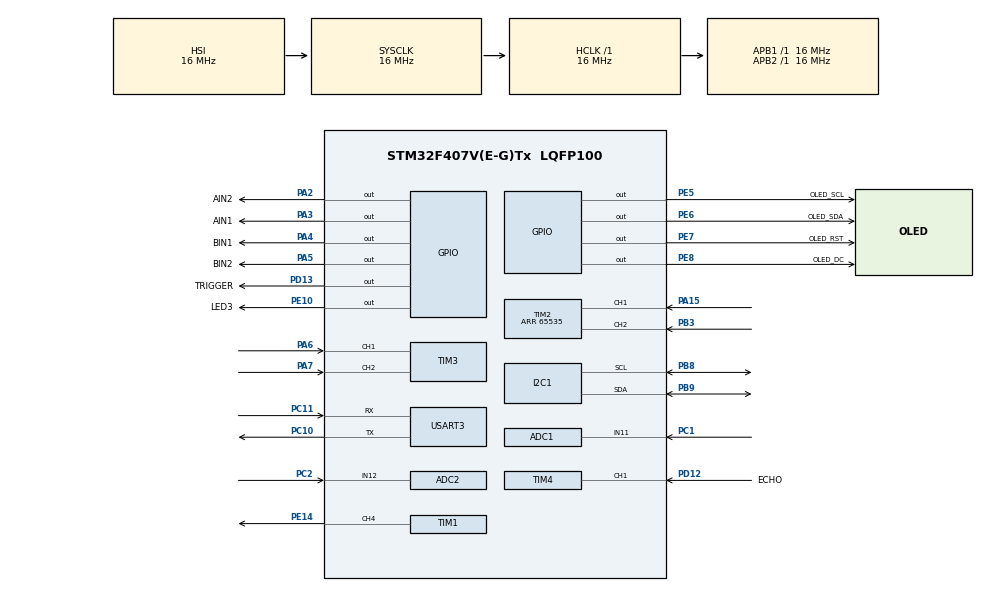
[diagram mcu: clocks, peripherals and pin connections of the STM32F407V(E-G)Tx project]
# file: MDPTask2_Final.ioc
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ADC1.Channel-0\#ChannelRegularConversion=ADC_CHANNEL_11
ADC1.NbrOfConversionFlag=1
ADC1.Rank-0\#ChannelRegularConversion=1
ADC1.SamplingTime-0\#ChannelRegularConversion=ADC_SAMPLETIME_3CYCLES
ADC1.master=1
ADC2.Channel-0\#ChannelRegularConversion=ADC_CHANNEL_12
ADC2.NbrOfConversionFlag=1
ADC2.Rank-0\#ChannelRegularConversion=1
ADC2.SamplingTime-0\#ChannelRegularConversion=ADC_SAMPLETIME_3CYCLES
FREERTOS.Tasks01=defaultTask,24,128,StartDefaultTask,Default,NULL,Dynamic,NULL,NULL;rightEncoderTas,8,128,rightEncoder,Default,NULL,Dynamic,NULL,NULL;leftEncoderTask,8,128,leftEncoder,Default,NULL,Dynamic,NULL,NULL;CommTask,8,128,StartCommsTask,Default,NULL,Dynamic,NULL,NULL;OLED,8,256,StartOLEDTask,Default,NULL,Dynamic,NULL,NULL;MotorTask,8,128,StartMotorTask,Default,NULL,Dynamic,NULL,NULL;GyroTask,8,128,StartGyroTask,Default,NULL,Dynamic,NULL,NULL;UltrasoundTask,8,128,StartUltrasoundTask,Default,NULL,Dynamic,NULL,NULL;IRTask,8,128,StartIRTask,Default,NULL,Dynamic,NULL,NULL
Mcu.Family=STM32F4
Mcu.Name=STM32F407V(E-G)Tx
Mcu.Package=LQFP100
NVIC.PriorityGroup=NVIC_PRIORITYGROUP_4
NVIC.RCC_IRQn=true\:5\:0\:false\:false\:true\:true\:true\:false\:true
NVIC.TIM4_IRQn=true\:5\:0\:false\:false\:true\:true\:true\:true\:true
NVIC.USART3_IRQn=true\:5\:0\:false\:false\:true\:true\:true\:true\:true
PA15.Signal=S_TIM2_CH1_ETR
PA2.GPIO_Label=AIN2
PA2.GPIO_Speed=GPIO_SPEED_FREQ_HIGH
PA2.Signal=GPIO_Output
PA3.GPIO_Label=AIN1
PA3.GPIO_Speed=GPIO_SPEED_FREQ_HIGH
PA3.Signal=GPIO_Output
PA4.GPIO_Label=BIN1
PA4.GPIO_Speed=GPIO_SPEED_FREQ_HIGH
PA4.PinState=GPIO_PIN_RESET
PA4.Signal=GPIO_Output
PA5.GPIO_Label=BIN2
PA5.GPIO_Speed=GPIO_SPEED_FREQ_HIGH
PA5.Signal=GPIO_Output
PA6.Signal=S_TIM3_CH1
PA7.Signal=S_TIM3_CH2
PB3.Signal=S_TIM2_CH2
PB8.Mode=I2C
PB8.Signal=I2C1_SCL
PB9.Mode=I2C
PB9.Signal=I2C1_SDA
PC1.Signal=ADCx_IN11
PC10.Mode=Asynchronous
PC10.Signal=USART3_TX
PC11.Mode=Asynchronous
PC11.Signal=USART3_RX
PC2.Signal=ADCx_IN12
PC6.GPIO_Label=PWMA
PC6.Signal=S_TIM8_CH1
PC7.GPIO_Label=PWMB
PC7.Signal=S_TIM8_CH2
PD12.GPIO_Label=ECHO
PD12.Signal=S_TIM4_CH1
PD13.GPIO_Label=TRIGGER
PD13.Signal=GPIO_Output
PE10.GPIO_Label=LED3
PE10.Signal=GPIO_Output
PE14.Signal=S_TIM1_CH4
PE5.GPIO_Label=OLED_SCL
PE5.Signal=GPIO_Output
PE6.GPIO_Label=OLED_SDA
PE6.Signal=GPIO_Output
PE7.GPIO_Label=OLED_RST
PE7.Signal=GPIO_Output
PE8.GPIO_Label=OLED_DC
PE8.Signal=GPIO_Output
PH0-OSC_IN.Mode=HSE-External-Oscillator
PH0-OSC_IN.Signal=RCC_OSC_IN
PH1-OSC_OUT.Mode=HSE-External-Oscillator
PH1-OSC_OUT.Signal=RCC_OSC_OUT
ProjectManager.HeapSize=0x200
ProjectManager.StackSize=0x400
ProjectManager.TargetToolchain=STM32CubeIDE
RCC.AHBFreq_Value=16000000
RCC.APB1Freq_Value=16000000
RCC.APB2Freq_Value=16000000
RCC.CortexFreq_Value=16000000
RCC.HSE_VALUE=25000000
RCC.HSI_VALUE=16000000
RCC.LSE_VALUE=32768
RCC.SYSCLKFreq_VALUE=16000000
RCC.VCOOutputFreq_Value=192000000
SH.ADCx_IN11.0=ADC1_IN11,IN11
SH.ADCx_IN12.0=ADC2_IN12,IN12
SH.S_TIM1_CH4.0=TIM1_CH4,PWM Generation4 CH4
SH.S_TIM2_CH1_ETR.0=TIM2_CH1,Encoder_Interface
SH.S_TIM2_CH2.0=TIM2_CH2,Encoder_Interface
SH.S_TIM3_CH1.0=TIM3_CH1,Encoder_Interface
SH.S_TIM3_CH2.0=TIM3_CH2,Encoder_Interface
SH.S_TIM4_CH1.0=TIM4_CH1,Input_Capture1_from_TI1
SH.S_TIM8_CH1.0=TIM8_CH1
SH.S_TIM8_CH2.0=TIM8_CH2
TIM1.AutoReloadPreload=TIM_AUTORELOAD_PRELOAD_ENABLE
TIM1.Channel-PWM\ Generation4\ CH4=TIM_CHANNEL_4
TIM1.Period=1000
TIM1.Prescaler=160
TIM2.EncoderMode=TIM_ENCODERMODE_TI12
TIM2.IC1Filter=10
TIM2.IC2Filter=10
TIM2.Period=65535
TIM3.EncoderMode=TIM_ENCODERMODE_TI12
TIM3.IC1Filter=10
TIM3.IC2Filter=10
TIM4.Channel-Input_Capture1_from_TI1=TIM_CHANNEL_1
TIM4.Prescaler=16-1
TIM8.Channel-PWM\ Generation1\ No\ Output=TIM_CHANNEL_1
TIM8.Channel-PWM\ Generation2\ No\ Output=TIM_CHANNEL_2
TIM8.Period=7199
USART3.VirtualMode=VM_ASYNC
VP_FREERTOS_VS_CMSIS_V2.Mode=CMSIS_V2
VP_TIM1_VS_ClockSourceINT.Mode=Internal
VP_TIM8_VS_ClockSourceINT.Mode=Internal
VP_TIM8_VS_no_output1.Mode=PWM Generation1 No Output
VP_TIM8_VS_no_output2.Mode=PWM Generation2 No Output
board=custom

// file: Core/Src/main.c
/* USER CODE BEGIN Header */
/**
  ******************************************************************************
  * @file           : main.c
  * @brief          : Main program body
  ******************************************************************************
  * @attention
  *
  * Copyright (c) 2025 STMicroelectronics.
  * All rights reserved.
  *
  * This software is licensed under terms that can be found in the LICENSE file
  * in the root directory of this software component.
  * If no LICENSE file comes with this software, it is provided AS-IS.
  *
  ******************************************************************************
  */
/* USER CODE END Header */
#include "main.h"
#include "cmsis_os.h"

/* USER CODE BEGIN Includes */
#include "oled.h"
#include "time.h"

/* USER CODE END Includes */

/* USER CODE BEGIN PD */

#define SERVOCENTER 146
#define SERVORIGHT 250
#define SERVOLEFT 84

/* USER CODE END PD */

ADC_HandleTypeDef hadc1;
ADC_HandleTypeDef hadc2;

I2C_HandleTypeDef hi2c1;

TIM_HandleTypeDef htim1;
TIM_HandleTypeDef htim2;
TIM_HandleTypeDef htim3;
TIM_HandleTypeDef htim4;
TIM_HandleTypeDef htim8;

UART_HandleTypeDef huart3;

/* Definitions for defaultTask */
osThreadId_t defaultTaskHandle;
const osThreadAttr_t defaultTask_attributes = {
  .name = "defaultTask",
  .stack_size = 128 * 4,
  .priority = (osPriority_t) osPriorityNormal,
};
/* Definitions for rightEncoderTas */
osThreadId_t rightEncoderTasHandle;
const osThreadAttr_t rightEncoderTas_attributes = {
  .name = "rightEncoderTas",
  .stack_size = 128 * 4,
  .priority = (osPriority_t) osPriorityLow,
};
/* Definitions for leftEncoderTask */
osThreadId_t leftEncoderTaskHandle;
const osThreadAttr_t leftEncoderTask_attributes = {
  .name = "leftEncoderTask",
  .stack_size = 128 * 4,
  .priority = (osPriority_t) osPriorityLow,
};
/* Definitions for CommTask */
osThreadId_t CommTaskHandle;
const osThreadAttr_t CommTask_attributes = {
  .name = "CommTask",
  .stack_size = 128 * 4,
  .priority = (osPriority_t) osPriorityLow,
};
/* Definitions for OLED */
osThreadId_t OLEDHandle;
const osThreadAttr_t OLED_attributes = {
  .name = "OLED",
  .stack_size = 256 * 4,
  .priority = (osPriority_t) osPriorityLow,
};
/* Definitions for MotorTask */
osThreadId_t MotorTaskHandle;
const osThreadAttr_t MotorTask_attributes = {
  .name = "MotorTask",
  .stack_size = 128 * 4,
  .priority = (osPriority_t) osPriorityLow,
};
/* Definitions for GyroTask */
osThreadId_t GyroTaskHandle;
const osThreadAttr_t GyroTask_attributes = {
  .name = "GyroTask",
  .stack_size = 128 * 4,
  .priority = (osPriority_t) osPriorityLow,
};
/* Definitions for UltrasoundTask */
osThreadId_t UltrasoundTaskHandle;
const osThreadAttr_t UltrasoundTask_attributes = {
  .name = "UltrasoundTask",
  .stack_size = 128 * 4,
  .priority = (osPriority_t) osPriorityLow,
};
/* Definitions for IRTask */
osThreadId_t IRTaskHandle;
const osThreadAttr_t IRTask_attributes = {
  .name = "IRTask",
  .stack_size = 128 * 4,
  .priority = (osPriority_t) osPriorityLow,
};

void SystemClock_Config(void);
static void MX_GPIO_Init(void);
static void MX_TIM8_Init(void);
static void MX_TIM2_Init(void);
static void MX_TIM1_Init(void);
static void MX_USART3_UART_Init(void);
static void MX_TIM3_Init(void);
static void MX_I2C1_Init(void);
static void MX_TIM4_Init(void);
static void MX_ADC1_Init(void);
static void MX_ADC2_Init(void);
void StartDefaultTask(void *argument);
void rightEncoder(void *argument);
void leftEncoder(void *argument);
void StartCommsTask(void *argument);
void StartOLEDTask(void *argument);
void StartMotorTask(void *argument);
void StartGyroTask(void *argument);
void StartUltrasoundTask(void *argument);
void StartIRTask(void *argument);

/* USER CODE BEGIN 0 */

//UART
int receivedInstruction = 0;
uint8_t aRxBuffer[5];
int flagDone = 0;
int amplitude=0;

// movement
uint16_t pwmVal_servo = SERVOCENTER;
uint16_t pwmVal_Right = 0;
uint16_t pwmVal_Left = 0;
int times_acceptable = 0;
int e_brake = 0;
int selfModifyPinsSemaphore = 0;
int uFlag = 0;
int irTaskuFlag = 0;
int gyroResetFlag = 0;

// encoder
int32_t rightEncoderVal = 0, leftEncoderVal = 0;
int32_t rightTarget = 0, leftTarget = 0;
double target_angle = 0;
int32_t O2distanceTravelled = 0;

// gyro
double total_angle = 0;
uint8_t gyroBuffer[20];
uint8_t ICMAddress = 0x68;

//ultrasonic
int u_CapturedTrig1;
int uintPart;
double echo_dist;
double echo_pulse;
int32_t trig1;
int32_t trig2;
int obstacle_detected = 0;

//IR Sensor
uint16_t RawLeftIRVal = 0;
uint16_t RawRightIRVal = 0;
uint16_t LeftIRfiltered = 0;
uint16_t RightIRfiltered = 0;
uint16_t IRDistance_Left = 0;
uint16_t IRDistance_Right = 0;
uint16_t *IRforTask2;

/* USER CODE END 0 */

int main(void)
{

  /* MCU Configuration--------------------------------------------------------*/

  /* Reset of all peripherals, Initializes the Flash interface and the Systick. */
  HAL_Init();

  /* Configure the system clock */
  SystemClock_Config();

  /* Initialize all configured peripherals */
  MX_GPIO_Init();
  MX_TIM8_Init();
  MX_TIM2_Init();
  MX_TIM1_Init();
  MX_USART3_UART_Init();
  MX_TIM3_Init();
  MX_I2C1_Init();
  MX_TIM4_Init();
  MX_ADC1_Init();
  MX_ADC2_Init();
  /* USER CODE BEGIN 2 */

  /*------------INIT LIBRARIES ----------------*/
 OLED_Init();
 void delay_us(uint16_t time_us);
 //motor_init(&htim8, &htim2, &htim2); 						//initialize motor PWM and encoders. ############################################

 // HAL_UART_Receive_IT(&huart3, (uint8_t *) aRxBuffer,5);			//HAL...(HUART3,aRxBuffer, (how many character to input before it receives)

 /*------------END INIT LIBRARIES ----------------*/
  /* USER CODE END 2 */

  /* Init scheduler */
  osKernelInitialize();

  /* Create the thread(s) */
  /* creation of defaultTask */
  defaultTaskHandle = osThreadNew(StartDefaultTask, NULL, &defaultTask_attributes);

  /* creation of rightEncoderTas */
  rightEncoderTasHandle = osThreadNew(rightEncoder, NULL, &rightEncoderTas_attributes);

  /* creation of leftEncoderTask */
  leftEncoderTaskHandle = osThreadNew(leftEncoder, NULL, &leftEncoderTask_attributes);

  /* creation of CommTask */
  CommTaskHandle = osThreadNew(StartCommsTask, NULL, &CommTask_attributes);

  /* creation of OLED */
  OLEDHandle = osThreadNew(StartOLEDTask, NULL, &OLED_attributes);

  /* creation of MotorTask */
  MotorTaskHandle = osThreadNew(StartMotorTask, NULL, &MotorTask_attributes);

  /* creation of GyroTask */
  GyroTaskHandle = osThreadNew(StartGyroTask, NULL, &GyroTask_attributes);

  /* creation of UltrasoundTask */
  UltrasoundTaskHandle = osThreadNew(StartUltrasoundTask, NULL, &UltrasoundTask_attributes);

  /* creation of IRTask */
  IRTaskHandle = osThreadNew(StartIRTask, NULL, &IRTask_attributes);

  /* Start scheduler */
  osKernelStart();

  /* We should never get here as control is now taken by the scheduler */

  /* Infinite loop */
  while(1)
  {

  }
}

void SystemClock_Config(void)
{
  RCC_OscInitTypeDef RCC_OscInitStruct = {0};
  RCC_ClkInitTypeDef RCC_ClkInitStruct = {0};

  /** Configure the main internal regulator output voltage
  */
  __HAL_RCC_PWR_CLK_ENABLE();
  __HAL_PWR_VOLTAGESCALING_CONFIG(PWR_REGULATOR_VOLTAGE_SCALE1);

  /** Initializes the RCC Oscillators according to the specified parameters
  * in the RCC_OscInitTypeDef structure.
  */
  RCC_OscInitStruct.OscillatorType = RCC_OSCILLATORTYPE_HSI;
  RCC_OscInitStruct.HSIState = RCC_HSI_ON;
  RCC_OscInitStruct.HSICalibrationValue = RCC_HSICALIBRATION_DEFAULT;
  RCC_OscInitStruct.PLL.PLLState = RCC_PLL_NONE;
  if (HAL_RCC_OscConfig(&RCC_OscInitStruct) != HAL_OK)
  {
    Error_Handler();
  }

  /** Initializes the CPU, AHB and APB buses clocks
  */
  RCC_ClkInitStruct.ClockType = RCC_CLOCKTYPE_HCLK|RCC_CLOCKTYPE_SYSCLK
                              |RCC_CLOCKTYPE_PCLK1|RCC_CLOCKTYPE_PCLK2;
  RCC_ClkInitStruct.SYSCLKSource = RCC_SYSCLKSOURCE_HSI;
  RCC_ClkInitStruct.AHBCLKDivider = RCC_SYSCLK_DIV1;
  RCC_ClkInitStruct.APB1CLKDivider = RCC_HCLK_DIV1;
  RCC_ClkInitStruct.APB2CLKDivider = RCC_HCLK_DIV1;

  if (HAL_RCC_ClockConfig(&RCC_ClkInitStruct, FLASH_LATENCY_0) != HAL_OK)
  {
    Error_Handler();
  }
}

static void MX_ADC1_Init(void)
{

  ADC_ChannelConfTypeDef sConfig = {0};

  /** Configure the global features of the ADC (Clock, Resolution, Data Alignment and number of conversion)
  */
  hadc1.Instance = ADC1;
  hadc1.Init.ClockPrescaler = ADC_CLOCK_SYNC_PCLK_DIV2;
  hadc1.Init.Resolution = ADC_RESOLUTION_12B;
  hadc1.Init.ScanConvMode = DISABLE;
  hadc1.Init.ContinuousConvMode = DISABLE;
  hadc1.Init.DiscontinuousConvMode = DISABLE;
  hadc1.Init.ExternalTrigConvEdge = ADC_EXTERNALTRIGCONVEDGE_NONE;
  hadc1.Init.ExternalTrigConv = ADC_SOFTWARE_START;
  hadc1.Init.DataAlign = ADC_DATAALIGN_RIGHT;
  hadc1.Init.NbrOfConversion = 1;
  hadc1.Init.DMAContinuousRequests = DISABLE;
  hadc1.Init.EOCSelection = ADC_EOC_SINGLE_CONV;
  if (HAL_ADC_Init(&hadc1) != HAL_OK)
  {
    Error_Handler();
  }

  /** Configure for the selected ADC regular channel its corresponding rank in the sequencer and its sample time.
  */
  sConfig.Channel = ADC_CHANNEL_11;
  sConfig.Rank = 1;
  sConfig.SamplingTime = ADC_SAMPLETIME_3CYCLES;
  if (HAL_ADC_ConfigChannel(&hadc1, &sConfig) != HAL_OK)
  {
    Error_Handler();
  }

}

static void MX_ADC2_Init(void)
{

  ADC_ChannelConfTypeDef sConfig = {0};

  /** Configure the global features of the ADC (Clock, Resolution, Data Alignment and number of conversion)
  */
  hadc2.Instance = ADC2;
  hadc2.Init.ClockPrescaler = ADC_CLOCK_SYNC_PCLK_DIV2;
  hadc2.Init.Resolution = ADC_RESOLUTION_12B;
  hadc2.Init.ScanConvMode = DISABLE;
  hadc2.Init.ContinuousConvMode = DISABLE;
  hadc2.Init.DiscontinuousConvMode = DISABLE;
  hadc2.Init.ExternalTrigConvEdge = ADC_EXTERNALTRIGCONVEDGE_NONE;
  hadc2.Init.ExternalTrigConv = ADC_SOFTWARE_START;
  hadc2.Init.DataAlign = ADC_DATAALIGN_RIGHT;
  hadc2.Init.NbrOfConversion = 1;
  hadc2.Init.DMAContinuousRequests = DISABLE;
  hadc2.Init.EOCSelection = ADC_EOC_SINGLE_CONV;
  if (HAL_ADC_Init(&hadc2) != HAL_OK)
  {
    Error_Handler();
  }

  /** Configure for the selected ADC regular channel its corresponding rank in the sequencer and its sample time.
  */
  sConfig.Channel = ADC_CHANNEL_12;
  sConfig.Rank = 1;
  sConfig.SamplingTime = ADC_SAMPLETIME_3CYCLES;
  if (HAL_ADC_ConfigChannel(&hadc2, &sConfig) != HAL_OK)
  {
    Error_Handler();
  }

}

static void MX_I2C1_Init(void)
{

  hi2c1.Instance = I2C1;
  hi2c1.Init.ClockSpeed = 100000;
  hi2c1.Init.DutyCycle = I2C_DUTYCYCLE_2;
  hi2c1.Init.OwnAddress1 = 0;
  hi2c1.Init.AddressingMode = I2C_ADDRESSINGMODE_7BIT;
  hi2c1.Init.DualAddressMode = I2C_DUALADDRESS_DISABLE;
  hi2c1.Init.OwnAddress2 = 0;
  hi2c1.Init.GeneralCallMode = I2C_GENERALCALL_DISABLE;
  hi2c1.Init.NoStretchMode = I2C_NOSTRETCH_DISABLE;
  if (HAL_I2C_Init(&hi2c1) != HAL_OK)
  {
    Error_Handler();
  }

}

static void MX_TIM1_Init(void)
{

  TIM_ClockConfigTypeDef sClockSourceConfig = {0};
  TIM_MasterConfigTypeDef sMasterConfig = {0};
  TIM_OC_InitTypeDef sConfigOC = {0};
  TIM_BreakDeadTimeConfigTypeDef sBreakDeadTimeConfig = {0};

  htim1.Instance = TIM1;
  htim1.Init.Prescaler = 160;
  htim1.Init.CounterMode = TIM_COUNTERMODE_UP;
  htim1.Init.Period = 1000;
  htim1.Init.ClockDivision = TIM_CLOCKDIVISION_DIV1;
  htim1.Init.RepetitionCounter = 0;
  htim1.Init.AutoReloadPreload = TIM_AUTORELOAD_PRELOAD_ENABLE;
  if (HAL_TIM_Base_Init(&htim1) != HAL_OK)
  {
    Error_Handler();
  }
  sClockSourceConfig.ClockSource = TIM_CLOCKSOURCE_INTERNAL;
  if (HAL_TIM_ConfigClockSource(&htim1, &sClockSourceConfig) != HAL_OK)
  {
    Error_Handler();
  }
  if (HAL_TIM_PWM_Init(&htim1) != HAL_OK)
  {
    Error_Handler();
  }
  sMasterConfig.MasterOutputTrigger = TIM_TRGO_RESET;
  sMasterConfig.MasterSlaveMode = TIM_MASTERSLAVEMODE_DISABLE;
  if (HAL_TIMEx_MasterConfigSynchronization(&htim1, &sMasterConfig) != HAL_OK)
  {
    Error_Handler();
  }
  sConfigOC.OCMode = TIM_OCMODE_PWM1;
  sConfigOC.Pulse = 0;
  sConfigOC.OCPolarity = TIM_OCPOLARITY_HIGH;
  sConfigOC.OCFastMode = TIM_OCFAST_DISABLE;
  sConfigOC.OCIdleState = TIM_OCIDLESTATE_RESET;
  sConfigOC.OCNIdleState = TIM_OCNIDLESTATE_RESET;
  if (HAL_TIM_PWM_ConfigChannel(&htim1, &sConfigOC, TIM_CHANNEL_4) != HAL_OK)
  {
    Error_Handler();
  }
  sBreakDeadTimeConfig.OffStateRunMode = TIM_OSSR_DISABLE;
  sBreakDeadTimeConfig.OffStateIDLEMode = TIM_OSSI_DISABLE;
  sBreakDeadTimeConfig.LockLevel = TIM_LOCKLEVEL_OFF;
  sBreakDeadTimeConfig.DeadTime = 0;
  sBreakDeadTimeConfig.BreakState = TIM_BREAK_DISABLE;
  sBreakDeadTimeConfig.BreakPolarity = TIM_BREAKPOLARITY_HIGH;
  sBreakDeadTimeConfig.AutomaticOutput = TIM_AUTOMATICOUTPUT_DISABLE;
  if (HAL_TIMEx_ConfigBreakDeadTime(&htim1, &sBreakDeadTimeConfig) != HAL_OK)
  {
    Error_Handler();
  }
  HAL_TIM_MspPostInit(&htim1);

}

static void MX_TIM2_Init(void)
{

  TIM_Encoder_InitTypeDef sConfig = {0};
  TIM_MasterConfigTypeDef sMasterConfig = {0};

  htim2.Instance = TIM2;
  htim2.Init.Prescaler = 0;
  htim2.Init.CounterMode = TIM_COUNTERMODE_UP;
  htim2.Init.Period = 65535;
  htim2.Init.ClockDivision = TIM_CLOCKDIVISION_DIV1;
  htim2.Init.AutoReloadPreload = TIM_AUTORELOAD_PRELOAD_DISABLE;
  sConfig.EncoderMode = TIM_ENCODERMODE_TI12;
  sConfig.IC1Polarity = TIM_ICPOLARITY_RISING;
  sConfig.IC1Selection = TIM_ICSELECTION_DIRECTTI;
  sConfig.IC1Prescaler = TIM_ICPSC_DIV1;
  sConfig.IC1Filter = 10;
  sConfig.IC2Polarity = TIM_ICPOLARITY_RISING;
  sConfig.IC2Selection = TIM_ICSELECTION_DIRECTTI;
  sConfig.IC2Prescaler = TIM_ICPSC_DIV1;
  sConfig.IC2Filter = 10;
  if (HAL_TIM_Encoder_Init(&htim2, &sConfig) != HAL_OK)
  {
    Error_Handler();
  }
  sMasterConfig.MasterOutputTrigger = TIM_TRGO_RESET;
  sMasterConfig.MasterSlaveMode = TIM_MASTERSLAVEMODE_DISABLE;
  if (HAL_TIMEx_MasterConfigSynchronization(&htim2, &sMasterConfig) != HAL_OK)
  {
    Error_Handler();
  }

}

static void MX_TIM3_Init(void)
{

  TIM_Encoder_InitTypeDef sConfig = {0};
  TIM_MasterConfigTypeDef sMasterConfig = {0};

  htim3.Instance = TIM3;
  htim3.Init.Prescaler = 0;
  htim3.Init.CounterMode = TIM_COUNTERMODE_UP;
  htim3.Init.Period = 65535;
  htim3.Init.ClockDivision = TIM_CLOCKDIVISION_DIV1;
  htim3.Init.AutoReloadPreload = TIM_AUTORELOAD_PRELOAD_DISABLE;
  sConfig.EncoderMode = TIM_ENCODERMODE_TI12;
  sConfig.IC1Polarity = TIM_ICPOLARITY_RISING;
  sConfig.IC1Selection = TIM_ICSELECTION_DIRECTTI;
  sConfig.IC1Prescaler = TIM_ICPSC_DIV1;
  sConfig.IC1Filter = 10;
  sConfig.IC2Polarity = TIM_ICPOLARITY_RISING;
  sConfig.IC2Selection = TIM_ICSELECTION_DIRECTTI;
  sConfig.IC2Prescaler = TIM_ICPSC_DIV1;
  sConfig.IC2Filter = 10;
  if (HAL_TIM_Encoder_Init(&htim3, &sConfig) != HAL_OK)
  {
    Error_Handler();
  }
  sMasterConfig.MasterOutputTrigger = TIM_TRGO_RESET;
  sMasterConfig.MasterSlaveMode = TIM_MASTERSLAVEMODE_DISABLE;
  if (HAL_TIMEx_MasterConfigSynchronization(&htim3, &sMasterConfig) != HAL_OK)
  {
    Error_Handler();
  }

}

static void MX_TIM4_Init(void)
{

  TIM_MasterConfigTypeDef sMasterConfig = {0};
  TIM_IC_InitTypeDef sConfigIC = {0};

  htim4.Instance = TIM4;
  htim4.Init.Prescaler = 16-1;
  htim4.Init.CounterMode = TIM_COUNTERMODE_UP;
  htim4.Init.Period = 65535;
  htim4.Init.ClockDivision = TIM_CLOCKDIVISION_DIV1;
  htim4.Init.AutoReloadPreload = TIM_AUTORELOAD_PRELOAD_DISABLE;
  if (HAL_TIM_IC_Init(&htim4) != HAL_OK)
  {
    Error_Handler();
  }
  sMasterConfig.MasterOutputTrigger = TIM_TRGO_RESET;
  sMasterConfig.MasterSlaveMode = TIM_MASTERSLAVEMODE_DISABLE;
  if (HAL_TIMEx_MasterConfigSynchronization(&htim4, &sMasterConfig) != HAL_OK)
  {
    Error_Handler();
  }
  sConfigIC.ICPolarity = TIM_INPUTCHANNELPOLARITY_RISING;
  sConfigIC.ICSelection = TIM_ICSELECTION_DIRECTTI;
  sConfigIC.ICPrescaler = TIM_ICPSC_DIV1;
  sConfigIC.ICFilter = 0;
  if (HAL_TIM_IC_ConfigChannel(&htim4, &sConfigIC, TIM_CHANNEL_1) != HAL_OK)
  {
    Error_Handler();
  }

}

static void MX_TIM8_Init(void)
{

  TIM_ClockConfigTypeDef sClockSourceConfig = {0};
  TIM_MasterConfigTypeDef sMasterConfig = {0};
  TIM_OC_InitTypeDef sConfigOC = {0};
  TIM_BreakDeadTimeConfigTypeDef sBreakDeadTimeConfig = {0};

  htim8.Instance = TIM8;
  htim8.Init.Prescaler = 0;
  htim8.Init.CounterMode = TIM_COUNTERMODE_UP;
  htim8.Init.Period = 7199;
  htim8.Init.ClockDivision = TIM_CLOCKDIVISION_DIV1;
  htim8.Init.RepetitionCounter = 0;
  htim8.Init.AutoReloadPreload = TIM_AUTORELOAD_PRELOAD_DISABLE;
  if (HAL_TIM_Base_Init(&htim8) != HAL_OK)
  {
    Error_Handler();
  }
  sClockSourceConfig.ClockSource = TIM_CLOCKSOURCE_INTERNAL;
  if (HAL_TIM_ConfigClockSource(&htim8, &sClockSourceConfig) != HAL_OK)
  {
    Error_Handler();
  }
  if (HAL_TIM_PWM_Init(&htim8) != HAL_OK)
  {
    Error_Handler();
  }
  sMasterConfig.MasterOutputTrigger = TIM_TRGO_RESET;
  sMasterConfig.MasterSlaveMode = TIM_MASTERSLAVEMODE_DISABLE;
  if (HAL_TIMEx_MasterConfigSynchronization(&htim8, &sMasterConfig) != HAL_OK)
  {
    Error_Handler();
  }
  sConfigOC.OCMode = TIM_OCMODE_PWM1;
  sConfigOC.Pulse = 0;
  sConfigOC.OCPolarity = TIM_OCPOLARITY_HIGH;
  sConfigOC.OCNPolarity = TIM_OCNPOLARITY_HIGH;
  sConfigOC.OCFastMode = TIM_OCFAST_DISABLE;
  sConfigOC.OCIdleState = TIM_OCIDLESTATE_RESET;
  sConfigOC.OCNIdleState = TIM_OCNIDLESTATE_RESET;
  if (HAL_TIM_PWM_ConfigChannel(&htim8, &sConfigOC, TIM_CHANNEL_1) != HAL_OK)
  {
    Error_Handler();
  }
  if (HAL_TIM_PWM_ConfigChannel(&htim8, &sConfigOC, TIM_CHANNEL_2) != HAL_OK)
  {
    Error_Handler();
  }
  sBreakDeadTimeConfig.OffStateRunMode = TIM_OSSR_DISABLE;
  sBreakDeadTimeConfig.OffStateIDLEMode = TIM_OSSI_DISABLE;
  sBreakDeadTimeConfig.LockLevel = TIM_LOCKLEVEL_OFF;
  sBreakDeadTimeConfig.DeadTime = 0;
  sBreakDeadTimeConfig.BreakState = TIM_BREAK_DISABLE;
  sBreakDeadTimeConfig.BreakPolarity = TIM_BREAKPOLARITY_HIGH;
  sBreakDeadTimeConfig.AutomaticOutput = TIM_AUTOMATICOUTPUT_DISABLE;
  if (HAL_TIMEx_ConfigBreakDeadTime(&htim8, &sBreakDeadTimeConfig) != HAL_OK)
  {
    Error_Handler();
  }

}

static void MX_USART3_UART_Init(void)
{

  huart3.Instance = USART3;
  huart3.Init.BaudRate = 115200;
  huart3.Init.WordLength = UART_WORDLENGTH_8B;
  huart3.Init.StopBits = UART_STOPBITS_1;
  huart3.Init.Parity = UART_PARITY_NONE;
  huart3.Init.Mode = UART_MODE_TX_RX;
  huart3.Init.HwFlowCtl = UART_HWCONTROL_NONE;
  huart3.Init.OverSampling = UART_OVERSAMPLING_16;
  if (HAL_UART_Init(&huart3) != HAL_OK)
  {
    Error_Handler();
  }

}

static void MX_GPIO_Init(void)
{
  GPIO_InitTypeDef GPIO_InitStruct = {0};

  /* GPIO Ports Clock Enable */
  __HAL_RCC_GPIOE_CLK_ENABLE();
  __HAL_RCC_GPIOH_CLK_ENABLE();
  __HAL_RCC_GPIOC_CLK_ENABLE();
  __HAL_RCC_GPIOA_CLK_ENABLE();
  __HAL_RCC_GPIOD_CLK_ENABLE();
  __HAL_RCC_GPIOB_CLK_ENABLE();

  /*Configure GPIO pin Output Level */
  HAL_GPIO_WritePin(GPIOE, OLED_SCL_Pin|OLED_SDA_Pin|OLED_RST_Pin|OLED_DC_Pin
                          |LED3_Pin, GPIO_PIN_RESET);

  /*Configure GPIO pin Output Level */
  HAL_GPIO_WritePin(GPIOA, AIN2_Pin|AIN1_Pin|BIN1_Pin|BIN2_Pin, GPIO_PIN_RESET);

  /*Configure GPIO pin Output Level */
  HAL_GPIO_WritePin(TRIGGER_GPIO_Port, TRIGGER_Pin, GPIO_PIN_RESET);

  /*Configure GPIO pins : OLED_SCL_Pin OLED_SDA_Pin OLED_RST_Pin OLED_DC_Pin
                           LED3_Pin */
  GPIO_InitStruct.Pin = OLED_SCL_Pin|OLED_SDA_Pin|OLED_RST_Pin|OLED_DC_Pin
                          |LED3_Pin;
  GPIO_InitStruct.Mode = GPIO_MODE_OUTPUT_PP;
  GPIO_InitStruct.Pull = GPIO_NOPULL;
  GPIO_InitStruct.Speed = GPIO_SPEED_FREQ_LOW;
  HAL_GPIO_Init(GPIOE, &GPIO_InitStruct);

  /*Configure GPIO pins : AIN2_Pin AIN1_Pin BIN1_Pin BIN2_Pin */
  GPIO_InitStruct.Pin = AIN2_Pin|AIN1_Pin|BIN1_Pin|BIN2_Pin;
  GPIO_InitStruct.Mode = GPIO_MODE_OUTPUT_PP;
  GPIO_InitStruct.Pull = GPIO_NOPULL;
  GPIO_InitStruct.Speed = GPIO_SPEED_FREQ_HIGH;
  HAL_GPIO_Init(GPIOA, &GPIO_InitStruct);

  /*Configure GPIO pin : TRIGGER_Pin */
  GPIO_InitStruct.Pin = TRIGGER_Pin;
  GPIO_InitStruct.Mode = GPIO_MODE_OUTPUT_PP;
  GPIO_InitStruct.Pull = GPIO_NOPULL;
  GPIO_InitStruct.Speed = GPIO_SPEED_FREQ_LOW;
  HAL_GPIO_Init(TRIGGER_GPIO_Port, &GPIO_InitStruct);

}

/* USER CODE BEGIN 4 */
void HAL_UART_RxCpltCallback(UART_HandleTypeDef *huart)
{
	/* Prevent unused argument(s) compilation warning*/
	 UNUSED(huart);
	 receivedInstruction =1;
}

// movement
void moveCarStraight(double distance) {

	distance = distance * 75;
	  pwmVal_servo = SERVOCENTER;
	  osDelay(300);
	  e_brake = 0;
	  times_acceptable = 0;
	  rightEncoderVal = 75000;
	  leftEncoderVal = 75000;
	  rightTarget = 75000;
	  leftTarget = 75000;
	  rightTarget += distance;
	  leftTarget += distance;

	  while (finishCheck());
}

void moveCarStop() {
	e_brake = 1;
	pwmVal_servo = SERVOCENTER;
	osDelay(200);
}

void moveCarRight(double angle) {
	pwmVal_servo = SERVORIGHT;
	osDelay(450);
	e_brake = 0;
	times_acceptable = 0;
	target_angle -= angle;
	while (finishCheck());
}

void moveCarLeft(double angle) {
	pwmVal_servo = SERVOLEFT;
	osDelay(450);
	e_brake = 0;
	times_acceptable = 0;
	target_angle += angle;
	while (finishCheck());
}

// error correction
int PID_Control(int error, int right) {
	if (right) { //rightMotor
		if (error > 0) { //go forward
			HAL_GPIO_WritePin(GPIOA, BIN1_Pin, GPIO_PIN_SET); // set direction of rotation for wheel B (RIGHT)- FORWARD
			HAL_GPIO_WritePin(GPIOA, BIN2_Pin, GPIO_PIN_RESET);
		} else { //go backward
			HAL_GPIO_WritePin(GPIOA, BIN1_Pin, GPIO_PIN_RESET); // set direction of rotation for wheel B (RIGHT)- BACKWARDS
			HAL_GPIO_WritePin(GPIOA, BIN2_Pin, GPIO_PIN_SET);
		}
	} else { //leftMotor
		if (error > 0) { //go forward
			HAL_GPIO_WritePin(GPIOA, AIN1_Pin, GPIO_PIN_SET); // set direction of rotation for wheel A(LEFT) - FORWARD
			HAL_GPIO_WritePin(GPIOA, AIN2_Pin, GPIO_PIN_RESET);
		} else { //go backward
			HAL_GPIO_WritePin(GPIOA, AIN1_Pin, GPIO_PIN_RESET); // set direction of rotation for wheel A(LEFT) - BACKWARDS
			HAL_GPIO_WritePin(GPIOA, AIN2_Pin, GPIO_PIN_SET);
		}
	}

	error = abs(error);
	if (error > 2000) {
		return 3000;
	} else if (error > 500)     {
		return 2000;
	 } else if (error > 200)  {
		return 1400;
	  } else if (error > 100)    {
		return 1000;
	   } else if (error > 2)  {
			times_acceptable++;
			return 500;
			} else if (error >= 1) {
		times_acceptable++;
		return 0;
	} else {
		times_acceptable++;
		return 0;
	}
}

int PID_Angle(double errord, int right) {
	int error = (int) (errord * 10);
	if (right) { //rightMotor = WHEEL B
		if (error > 0) { //go forward
			HAL_GPIO_WritePin(GPIOA, BIN1_Pin, GPIO_PIN_SET); // wheel B- forward
			HAL_GPIO_WritePin(GPIOA, BIN2_Pin, GPIO_PIN_RESET);
		} else { //go backward
			HAL_GPIO_WritePin(GPIOA, BIN1_Pin, GPIO_PIN_RESET); // wheel B - reverse
			HAL_GPIO_WritePin(GPIOA, BIN2_Pin, GPIO_PIN_SET);
		}
	} else { //leftMotor = WHEEL A
		if (error < 0) { //go forward
			HAL_GPIO_WritePin(GPIOA, AIN1_Pin, GPIO_PIN_SET); // wheel A - forward
			HAL_GPIO_WritePin(GPIOA, AIN2_Pin, GPIO_PIN_RESET);
		} else { //go backward
			HAL_GPIO_WritePin(GPIOA, AIN1_Pin, GPIO_PIN_RESET); // wheel A - reverse
			HAL_GPIO_WritePin(GPIOA, AIN2_Pin, GPIO_PIN_SET);
		}
	}

	error = abs(error);
	if (error > 300) {
		return 5000;		//3000
	} else if (error > 200) {
		return 3000;		//2000
	} else if (error > 150) {
		return 3000;		//1600
	} else if (error > 100) {
		return 1400;		//1400
	} else if (error > 10) {
		return 1400;		//1000
	} else if (error >= 2) {
		times_acceptable++;
		return 1000;		//600
	} else {
		times_acceptable++;
		return 0;
	}
}

int finishCheck() {
	if (times_acceptable > 5) {		//check to confirm angle/position is reached, then return 0. increase as needed if need more precise measurements
		e_brake = 1;
		pwmVal_Left = pwmVal_Right = 0;
		leftTarget = leftEncoderVal;
		rightTarget = rightEncoderVal;
		times_acceptable = 0;
		osDelay(200);
		return 0;
	}
	return 1;
}

 //gyro
void readByte(uint8_t addr, uint8_t *data) {
	gyroBuffer[0] = addr;
	HAL_I2C_Master_Transmit(&hi2c1, ICMAddress << 1, gyroBuffer, 1, 10);
	HAL_I2C_Master_Receive(&hi2c1, ICMAddress << 1, data, 2, 20);
}

void writeByte(uint8_t addr, uint8_t data) {
	gyroBuffer[0] = addr;
	gyroBuffer[1] = data;
	HAL_I2C_Master_Transmit(&hi2c1, ICMAddress << 1, gyroBuffer, 2, 20);
}

void gyroInit() {
	writeByte(0x06, 0x00);
	osDelay(10);
	writeByte(0x03, 0x80);
	osDelay(10);
	writeByte(0x07, 0x07);
	osDelay(10);
	writeByte(0x06, 0x01);
	osDelay(10);
	writeByte(0x7F, 0x20);
	osDelay(10);
	writeByte(0x01, 0x2F);
	osDelay(10);
	writeByte(0x0, 0x00);
	osDelay(10);
	writeByte(0x7F, 0x00);
	osDelay(10);
	writeByte(0x07, 0x00);
	osDelay(10);
}

/************************TASK 2 FUNCTIONS******************/

// ultrasonic
void delay_us(uint16_t time_us) {
	__HAL_TIM_SET_COUNTER(&htim4, 0);
	while (__HAL_TIM_GET_COUNTER(&htim4) < time_us);
}

void Ultrasonic_Read(void) //Call when u want to get reading from US
{
	HAL_GPIO_WritePin(TRIGGER_GPIO_Port, TRIGGER_Pin, GPIO_PIN_SET);
	delay_us(10);
	HAL_GPIO_WritePin(TRIGGER_GPIO_Port, TRIGGER_Pin, GPIO_PIN_RESET);
	__HAL_TIM_ENABLE_IT(&htim4, TIM_IT_CC1);
}

void HAL_TIM_IC_CaptureCallback(TIM_HandleTypeDef *htim){

	if(htim->Channel ==HAL_TIM_ACTIVE_CHANNEL_1){
		if(u_CapturedTrig1 == 0){	// Ultrasonic Trigger first sent
			trig1 = HAL_TIM_ReadCapturedValue(htim, TIM_CHANNEL_1);
			u_CapturedTrig1 =1;
			__HAL_TIM_SET_CAPTUREPOLARITY(htim, TIM_CHANNEL_1,
					TIM_INPUTCHANNELPOLARITY_FALLING);
		}

		else if (u_CapturedTrig1 == 1){	//Ultrasonic Trigger 2nd sent
				trig2 = HAL_TIM_ReadCapturedValue(htim, TIM_CHANNEL_1);
				__HAL_TIM_SET_COUNTER(htim,0);

				if (trig2 > trig1){
					echo_pulse = trig2-trig1;		//width of pulse
				} else {
					echo_pulse = (65535-trig1)+trig2;	//if overflow, width of pulse
				}
				echo_dist = echo_pulse * 0.0343/2; //echo_dist in cm

				u_CapturedTrig1 =0;

				__HAL_TIM_SET_CAPTUREPOLARITY(htim, TIM_CHANNEL_1, TIM_INPUTCHANNELPOLARITY_RISING);
				__HAL_TIM_DISABLE_IT(&htim4, TIM_IT_CC1);
		}
	}
}

// ir sensor
void IR_Left_Read() {
	HAL_ADC_Start(&hadc1);
	HAL_ADC_PollForConversion(&hadc1, 100);
	RawLeftIRVal = HAL_ADC_GetValue(&hadc1);
	HAL_ADC_Stop(&hadc1);

	//LPF, Filter coefficient = 0.15
	LeftIRfiltered = (0.15 * RawLeftIRVal) + ((1 - 0.15) * LeftIRfiltered);

	if(LeftIRfiltered <450) 		//cap the IR filter range to be from 0-70cm+-, else it will go haywire
		IRDistance_Left = 101;
	else {
		//Equation from calibration and testing
		IRDistance_Left = 29076.34/(LeftIRfiltered-170.63);
	}
}

void IR_Right_Read() {
	HAL_ADC_Start(&hadc2);
	HAL_ADC_PollForConversion(&hadc2, 100);
	RawRightIRVal = HAL_ADC_GetValue(&hadc2);
	HAL_ADC_Stop(&hadc2);

	//LPF, Filter coefficient = 0.15
	RightIRfiltered = (0.15 * RawRightIRVal) + ((1 - 0.15) * RightIRfiltered);

	if(RightIRfiltered <450) 		//cap the IR filter range to be from 0-70cm+-, else it will go haywire
		IRDistance_Right = 101;
	else {
		//Eqn from calibration and testing
		IRDistance_Right = 30181.23/ (RightIRfiltered-133.62);
	//IRDistance_Right = 29076.34/(RightIRfiltered-170.63);
	}
}

void Control_Drift() {		//control drift to go straight
	  //control servo angle to go straight
			  if(total_angle < -2) {	//veering to the right
				  pwmVal_servo = ((-19 * 5) / 5 + SERVOCENTER);
			  }
			  else if(total_angle > 2) {
				  pwmVal_servo = ((19 * 5) / 5 + SERVOCENTER);
			  }
			  else {
				  pwmVal_servo = ((19 * total_angle) / 5 + SERVOCENTER);
			  }
}

void Task2IRmoveStraight() {
	  //**************move parallel along the obstacle till nothing is seen on the side of robot
	selfModifyPinsSemaphore =1 ;
	e_brake = 0;

	//gyro RESET after turning, without whole STM reset
	total_angle =0;
	target_angle = 0;
	pwmVal_servo = SERVOCENTER;
	osDelay(300);

	HAL_GPIO_WritePin(GPIOA, AIN1_Pin, GPIO_PIN_SET);		//left wheel fwd direction
	HAL_GPIO_WritePin(GPIOA, AIN2_Pin, GPIO_PIN_RESET);	//right wheel fwd direction
	HAL_GPIO_WritePin(GPIOA, BIN1_Pin, GPIO_PIN_SET);
	HAL_GPIO_WritePin(GPIOA, BIN2_Pin, GPIO_PIN_RESET);

	  while(*IRforTask2 < 50) {

		  pwmVal_Left = pwmVal_Right = 3500;
		  Control_Drift();
	  }
	  e_brake = 1;
	  selfModifyPinsSemaphore = 0;
	  //moveCarStraight(-5);

}

void Obstacle1Ultra() {

	//START task 2. reset gyro
	selfModifyPinsSemaphore =1 ;
	total_angle =0;
	target_angle = 0;
	e_brake = 0;
	pwmVal_servo = SERVOCENTER;

	osDelay(50);

	  HAL_GPIO_WritePin(GPIOA, AIN1_Pin, GPIO_PIN_SET);		//left wheel fwd direction
	  HAL_GPIO_WritePin(GPIOA, AIN2_Pin, GPIO_PIN_RESET);	//right wheel fwd direction
	  HAL_GPIO_WritePin(GPIOA, BIN1_Pin, GPIO_PIN_SET);
	  HAL_GPIO_WritePin(GPIOA, BIN2_Pin, GPIO_PIN_RESET);

	  while (echo_dist >17) { 	//actual echo_dist stops at 15cm
		  if(echo_dist >50){
				pwmVal_Left = 6000;
				pwmVal_Right = 6000;
		  }
		  else if(echo_dist >40)
		  {
				pwmVal_Left = 1700;
				pwmVal_Right = 1700;
		  }
		  else if(echo_dist >17) {
			  pwmVal_Left = 1500;
			  pwmVal_Right = 1500;
		  }
		  Control_Drift();
	  }

	  e_brake = 1;
	  selfModifyPinsSemaphore = 0;
}

void Obstacle1_Move() {		//
	//if right arrow
	if(aRxBuffer[4] == 'R') {
		  moveCarRight(58);
		  moveCarLeft(116);
		  moveCarStraight(3);
		  moveCarRight(58);

	}
	  //if left arrow
	if(aRxBuffer[4] == 'L') {
	  moveCarLeft(58);
	  moveCarRight(116);
	  moveCarStraight(3);
	  moveCarLeft(58);
	}

	osDelay(100);
	if(echo_dist < 10)
		moveCarStraight(-25);
	else if(echo_dist < 20)
		moveCarStraight(-15);
	else if(echo_dist < 25)
		  moveCarStraight(-10);

	pwmVal_servo = SERVOCENTER;
	osDelay(300);

}

void Obstacle2Ultra() {
	selfModifyPinsSemaphore =1 ;
	e_brake = 0;
	leftEncoderVal = 0; 	//O2distanceTravelled
	osDelay(25);

	  HAL_GPIO_WritePin(GPIOA, AIN1_Pin, GPIO_PIN_SET);		//left wheel fwd direction
	  HAL_GPIO_WritePin(GPIOA, AIN2_Pin, GPIO_PIN_RESET);	//right wheel fwd direction
	  HAL_GPIO_WritePin(GPIOA, BIN1_Pin, GPIO_PIN_SET);
	  HAL_GPIO_WritePin(GPIOA, BIN2_Pin, GPIO_PIN_RESET);

	  while (echo_dist >25) { 	//actual echo_dist stops at 23cm
		  if(echo_dist >50){
				pwmVal_Left = 6000;
				pwmVal_Right = 6000;
		  }
		  else if(echo_dist >40)
		  {
				pwmVal_Left = 1700;
				pwmVal_Right = 1700;
		  }
		  else if(echo_dist >25) {
			  pwmVal_Left = 1500;
			  pwmVal_Right = 1500;
		  }

		  Control_Drift();
	  }
	  e_brake = 1;
	  selfModifyPinsSemaphore = 0;
	  osDelay(100);	//delay to get more accurate reading of O2distanceTravelled
	  O2distanceTravelled = leftEncoderVal;
}

void Obstacle2_Move () {
//if right arrow

	if(aRxBuffer[4] == 'R') {		//use IRDistance_Left
		IRforTask2 = &IRDistance_Left;
		  moveCarRight(90);
	}
	  //if left arrow
	else if(aRxBuffer[4] == 'L') {	//use IRDistance_Right
		IRforTask2 = &IRDistance_Right;
		moveCarLeft(90);
	}
	osDelay(500);
	if(*IRforTask2 >50) { 		//correction to move back if exceeded obstacle length after turning
		moveCarStraight(-25);
	}

	Task2IRmoveStraight();
/*
 * 						<-- 	end goal of the next if statement
 * 		obstacle2			^
 * ********************		|
 * 						-->
 *
 */
	if(aRxBuffer[4] == 'L')		    moveCarRight(180);

	else if(aRxBuffer[4] == 'R') 	moveCarLeft(180);

	moveCarStraight(7);
	Task2IRmoveStraight();

	if(aRxBuffer[4] == 'L') 	    moveCarRight(90);
	else if(aRxBuffer[4] == 'R') 	moveCarLeft(90);

	/****************Start task back to carpark**************************/
	pwmVal_servo = SERVOCENTER;
	osDelay(300);
	total_angle =0;
	target_angle = 0;
	selfModifyPinsSemaphore = 1;
	e_brake = 0;

	HAL_GPIO_WritePin(GPIOA, AIN1_Pin, GPIO_PIN_SET);		//left wheel fwd direction
	HAL_GPIO_WritePin(GPIOA, AIN2_Pin, GPIO_PIN_RESET);	//right wheel fwd direction
	HAL_GPIO_WritePin(GPIOA, BIN1_Pin, GPIO_PIN_SET);
	HAL_GPIO_WritePin(GPIOA, BIN2_Pin, GPIO_PIN_RESET);

	  pwmVal_Left = 6000;
	  pwmVal_Right = 6000;
	  leftEncoderVal = 0;

	  //formula to calculate distance travelled between O1 and O2. OFFSET in whole numbers only!!!
	  //OFFSET (in cm) is to account for extra distance to travel to get past O1 when returning back
	  //distance travelled(cm) = (leftEncoderVal / 1500) * 20.4 ; (1500 counts = 1 rev, 20.4cm = circumference of wheel)

	  // formula = ((OFFSET/20.4) * 1500)

	  while(leftEncoderVal < (O2distanceTravelled + 5515) ) {	//OFFSET = 70cm = 5515 (please update these to keep track of our offset)
		  Control_Drift();
	  }
	  e_brake =1;
	  selfModifyPinsSemaphore = 0;

	if(aRxBuffer[4] == 'L')			moveCarRight(90);
	else if(aRxBuffer[4] == 'R') 	moveCarLeft(90);

	pwmVal_servo = SERVOCENTER;
	//osDelay(250);
	moveCarStraight(-15);
	selfModifyPinsSemaphore = 1;
	e_brake = 0;

	HAL_GPIO_WritePin(GPIOA, AIN1_Pin, GPIO_PIN_SET);		//left wheel fwd direction
	HAL_GPIO_WritePin(GPIOA, AIN2_Pin, GPIO_PIN_RESET);	//right wheel fwd direction
	HAL_GPIO_WritePin(GPIOA, BIN1_Pin, GPIO_PIN_SET);
	HAL_GPIO_WritePin(GPIOA, BIN2_Pin, GPIO_PIN_RESET);

	total_angle =0;
	target_angle = 0;

	//to detect O1 before turning in to face cp
	while(*IRforTask2 >45) {
		  pwmVal_Left = pwmVal_Right = 3500;
		  Control_Drift();
	}
	e_brake = 1;
	selfModifyPinsSemaphore = 0;

	moveCarStraight(-15);

	if(aRxBuffer[4] == 'L')			moveCarLeft(90);
	else if(aRxBuffer[4] == 'R') 	moveCarRight(90);

	//robot is now facing cp. CHIOOOOOONG TO ENDLINE!!!

	pwmVal_servo = SERVOCENTER;
	selfModifyPinsSemaphore =1 ;
		total_angle =0;
		target_angle = 0;
		e_brake = 0;

		osDelay(300);

		  HAL_GPIO_WritePin(GPIOA, AIN1_Pin, GPIO_PIN_SET);		//left wheel fwd direction
		  HAL_GPIO_WritePin(GPIOA, AIN2_Pin, GPIO_PIN_RESET);	//right wheel fwd direction
		  HAL_GPIO_WritePin(GPIOA, BIN1_Pin, GPIO_PIN_SET);
		  HAL_GPIO_WritePin(GPIOA, BIN2_Pin, GPIO_PIN_RESET);

		  while (echo_dist >20) { 	//actual echo_dist stops at ~18cm
			  if(echo_dist >50){
					pwmVal_Left = 6000;
					pwmVal_Right = 6000;
			  }
			  else if(echo_dist >35)
			  {
					pwmVal_Left = 2000;
					pwmVal_Right = 2000;
			  }
			  else if(echo_dist >20) {
				  pwmVal_Left = 1500;
				  pwmVal_Right = 1500;
			  }
			  Control_Drift();
		  }

		  e_brake = 1;
		  selfModifyPinsSemaphore = 0;
}

/************** END OF TASK 2 FUNCTIONS *****************/

/* USER CODE END 4 */

void StartDefaultTask(void *argument)
{
  /* USER CODE BEGIN 5 */
  /* Infinite loop */

  for(;;)
  {
	 HAL_GPIO_TogglePin(LED3_GPIO_Port, LED3_Pin);
     osDelay(1000);
  }
  /* USER CODE END 5 */
}

void rightEncoder(void *argument)
{
  /* USER CODE BEGIN rightEncoder */
  /* Infinite loop */
	HAL_TIM_Encoder_Start(&htim3, TIM_CHANNEL_ALL);
		int cnt1;
		int dirR = 1;
		int diff;
		uint32_t tick = HAL_GetTick();
		/* Infinite loop */
		for (;;) {
			if (HAL_GetTick() - tick > 10L) {
				cnt1 = __HAL_TIM_GET_COUNTER(&htim3);
				if (cnt1 > 32000) {
					dirR = 1;
					diff = (65536 - cnt1);
				} else {
					dirR = -1;
					diff = cnt1;
				}
				if (dirR == 1) {
					rightEncoderVal -= diff;
				} else {
					rightEncoderVal += diff;
				}

				__HAL_TIM_SET_COUNTER(&htim3, 0);

				tick = HAL_GetTick();
			}
			osDelay(50);
		}
  /* USER CODE END rightEncoder */
}

void leftEncoder(void *argument)
{
  /* USER CODE BEGIN leftEncoder */
  /* Infinite loop */
	HAL_TIM_Encoder_Start(&htim2, TIM_CHANNEL_ALL);
	int cnt2;
	int dirL = 1;
	int diff;

	uint32_t tick = HAL_GetTick();

	/* Infinite loop */
	for (;;) {
		if (HAL_GetTick() - tick > 10L) {
			cnt2 = __HAL_TIM_GET_COUNTER(&htim2);
			if (cnt2 > 32000) {
				dirL = 1;
				diff = (65536 - cnt2);
			} else {
				dirL = -1;
				diff = cnt2;
			}
			if (dirL == 1) {
				leftEncoderVal += diff;
			} else {
				leftEncoderVal -= diff;
			}

			__HAL_TIM_SET_COUNTER(&htim2, 0);

			tick = HAL_GetTick();
		}

//		sprintf(hello, "SpeedL: %5d\0", diff);
//		  OLED_ShowString(10,30,hello);
//		  sprintf(hello, "DirL: %5d\0", dirL);
//		  OLED_ShowString(10,40,hello);
		  osDelay(50);
	}
  /* USER CODE END leftEncoder */
}

void StartCommsTask(void *argument)
{
  /* USER CODE BEGIN StartCommsTask */
  /* Infinite loop */

	uint8_t ack[4] = "A\0";        // ACK
	  uint8_t invalid[8] = "I\0";    // "INVALID
	  uint8_t obstacle[2] = "O\0";   // Obstacle detected
	  int skipToStep =0;

	  strcpy((char *)aRxBuffer, "START");

	  /* Infinite loop */
	  for(;;)
	  {
	    // Make sure UART is ready to receive
	    HAL_UART_Receive_IT(&huart3, (uint8_t *) aRxBuffer, 5);

	    if(receivedInstruction == 1)
	    {
	      amplitude = 0;

	      // Check valid command format
	      if (
	    		  (strcmp(aRxBuffer, "RESET") == 0)
				  || (	(aRxBuffer[0] == 'F' || aRxBuffer[0] == 'B')        // move Forward, Backwards
				  && (aRxBuffer[1] == 'S' || aRxBuffer[1] == 'R' || aRxBuffer[1] == 'L')	)   // move straight, right, or left
				  && ((aRxBuffer[2] - '0') >= 0 && (aRxBuffer[2] - '0') <= 9)
				  && ((aRxBuffer[3] - '0') >= 0 && (aRxBuffer[3] - '0') <= 9)
				  && ((aRxBuffer[4] - '0') >= 0 && (aRxBuffer[4] - '0') <= 9)
				   //(aRxBuffer[0] == 'O' && aRxBuffer[1] == 'B' && aRxBuffer[2] == 'S') 	//OBStacle, task 2
				  || (strcmp(aRxBuffer, "OBS1U") == 0) || (strcmp(aRxBuffer, "OBS2U") == 0) 	//ultrasound for obstacles
				  || (strcmp(aRxBuffer, "OBS1L") == 0) || (strcmp(aRxBuffer, "OBS1R") == 0)
				  || (strcmp(aRxBuffer, "OBS2L") == 0) || (strcmp(aRxBuffer, "OBS2R") == 0)
	      	  )
	      {
//	        // Check if we're trying to move forward and there's an obstacle
//	        if (aRxBuffer[0] == 'F' && aRxBuffer[1] == 'S' && obstacle_detected) {
//	          // Don't execute the forward command if there's an obstacle
//	          strcpy((char *)aRxBuffer, "OBST!");
//	          HAL_UART_Transmit(&huart3, (uint8_t*) obstacle, 2, 0xFFFF);  // Send obstacle alert
//	          receivedInstruction = 0;
//	        }
//	        else {
	          // Process the command as usual
	          HAL_UART_AbortReceive_IT(&huart3);  // pause receiving from UART

	          if(aRxBuffer[2]!='E'){	//if is normal commands, assign the amplitude value
				  amplitude = ((int) (aRxBuffer[2]) - 48) * 100
							+ ((int) (aRxBuffer[3]) - 48) * 10
							+ ((int) (aRxBuffer[4]) - 48);

				  if (aRxBuffer[0] == 'B') {          // check Direction first
					amplitude *= -1;
				  }
	          }
	          osDelay(10);

	          if(strncmp(aRxBuffer, "OBS", 3) ==0 )
	          {
	        	  //run the switch statements
	        	  switch (aRxBuffer[3]) {
	        	  	  case '1':

							  switch(aRxBuffer[4]) {
								  case 'U':
									  Obstacle1Ultra();
									  strcpy((char *)aRxBuffer, "IMAGE");
									  break;
								  case 'L':
								  case 'R':
									  Obstacle1_Move();
									  break;
							  }
							  //for case 1
							  flagDone = 1;
							  skipToStep = 1;
							  break;

						//break for case 1
	        	  		  break;

	        	  	  case '2':

							  switch(aRxBuffer[4]) {
								  case 'U':
									  Obstacle2Ultra();
									  strcpy((char *)aRxBuffer, "OBST2");
									  break;
								  case 'L':
								  case 'R':
									  Obstacle2_Move();
									  break;
							  }
							  //break for case 2
							  flagDone = 1;
							  skipToStep = 1;
							  break;
	        	  }
	        	  strcpy((char *)aRxBuffer, "DONE!");
	          }

	          if(!skipToStep) {

	          switch (aRxBuffer[1]) {
	          case 'S':
	            moveCarStraight(amplitude);
	            strcpy((char *)aRxBuffer, "DONE!");    // Display to ACK cmd on OLED
	            flagDone = 1;
	            osDelay(10);
	            break;
	          case 'R':
	            moveCarRight(amplitude);
	            strcpy((char *)aRxBuffer, "DONE!");    // Display to ACK cmd on OLED
	            flagDone = 1;
	            osDelay(10);
	            break;
	          case 'L':
	            moveCarLeft(amplitude);
	            strcpy((char *)aRxBuffer, "DONE!");    // Display to ACK cmd on OLED
	            flagDone = 1;
	            osDelay(10);
	            break;
	          case 'E':                   // reset whole system to recalibrate gyro
	            strcpy((char *)aRxBuffer, "RESET");
	            HAL_UART_Transmit(&huart3, (uint8_t*) "R\0", 2, 0xFFFF);  // TRANSMITTING "RESET" TO RPI/PUTTY
	            osDelay(500);
	            NVIC_SystemReset();
	            osDelay(10);
	            break;
	          }
	          }	//for skipToStep
	          skipToStep =0;

	 // for else bracket }
	      }	//end if valid choice

	      else      // INVALID CHOICE
	      {
	        strcpy((char *)aRxBuffer, "INVAL");
	        osDelay(10);
	        HAL_UART_Transmit(&huart3, (uint8_t*) &invalid, 8, 0xFFFF);  // TRANSMITTING "INVAL" TO RPI/PUTTY
	        receivedInstruction = 0;
	      }
	    }

	    if (flagDone == 1) {
	      receivedInstruction = 0;
	      osDelay(10);
	      HAL_UART_Transmit(&huart3, (uint8_t*) &ack, 4, 0xFFFF);   // TRANSMITTING "ACK" TO RPI/PUTTY
	      flagDone = 0;
	    }

	    osDelay(10);
	  }
  /* USER CODE END StartCommsTask */
}

void StartOLEDTask(void *argument)
{
  /* USER CODE BEGIN StartOLEDTask */
  /* Infinite loop */
// aaa	uint8_t usVal[20] = { 0 };
	uint8_t gyroVal[20] = { 0 };
	uint8_t command[20] = { 0 };
	uint8_t echo[20] = { 0 };
	int32_t IR_Left[20] = { 0 };
	int32_t IR_Right[20] = { 0 };

	for (;;) {
		int decimals = abs((int) ((total_angle - (int) (total_angle)) * 1000));
		sprintf(gyroVal, "Gyro: %d.%d \0", (int) total_angle, decimals);
		OLED_ShowString(0, 0, gyroVal);

		sprintf(command, "C: %c%c%c%c%c \0", aRxBuffer[0], aRxBuffer[1],
				aRxBuffer[2], aRxBuffer[3], aRxBuffer[4]);
		OLED_ShowString(0, 10, command);

		//print ultrasonic readings
		uintPart = (int)echo_dist;
		sprintf(echo, "E = %dcm \0", uintPart);		//ultrasonic readings
		OLED_ShowString(0, 20, echo);

		//IR Readings
		sprintf(IR_Left, "Left:%d D:%d \0", LeftIRfiltered, IRDistance_Left);
		OLED_ShowString(0, 30,IR_Left );
		sprintf(IR_Right, "Right:%d D:%d \0", RightIRfiltered, IRDistance_Right);
		OLED_ShowString(0, 40,IR_Right );

		OLED_Refresh_Gram();
		osDelay(100);
	}
  /* USER CODE END StartOLEDTask */
}

void StartMotorTask(void *argument)
{
  /* USER CODE BEGIN StartMotorTask */
  /* Infinite loop */
	pwmVal_Right = 0;
	  pwmVal_Left = 0;
	  int straightCorrection = 0;
	  HAL_TIM_PWM_Start(&htim8, TIM_CHANNEL_1);
	  HAL_TIM_PWM_Start(&htim8, TIM_CHANNEL_2);
	  HAL_TIM_PWM_Start(&htim1, TIM_CHANNEL_4);
	  htim1.Instance->CCR4 = SERVOCENTER; 	//Centre

	  HAL_GPIO_WritePin(GPIOA, BIN1_Pin, GPIO_PIN_SET); // RIGHT WHEEL FORWARD
	  HAL_GPIO_WritePin(GPIOA, BIN2_Pin, GPIO_PIN_RESET);
	  HAL_GPIO_WritePin(GPIOA, AIN1_Pin, GPIO_PIN_SET); // LEFT WHEEL FORWARD
	  HAL_GPIO_WritePin(GPIOA, AIN2_Pin, GPIO_PIN_RESET);
	  osDelay(1000);

	  /* Infinite loop */
	  for (;;) {
	    htim1.Instance->CCR4 = pwmVal_servo;

	    if(selfModifyPinsSemaphore ==1){
	    	//skips the MotorTask
	    }

	    else {	//task 1 functions

	    		double error_angle = target_angle - total_angle;	//100 - gyro (with drift) angle

				  // Normal operation - no obstacle or not moving forward
				  if (pwmVal_servo < 127) { //TURN LEFT
					pwmVal_Right = PID_Angle(error_angle, 1) * 1.072;  //RIGHT = MASTER
					pwmVal_Left = pwmVal_Right * (0.59); //LEFT = SLAVE

					if (error_angle > 0) {
					  // LEFT WHEEL GO FORWARD
					  HAL_GPIO_WritePin(GPIOA, AIN1_Pin, GPIO_PIN_SET);
					  HAL_GPIO_WritePin(GPIOA, AIN2_Pin, GPIO_PIN_RESET);
					} else {
					  //// LEFT WHEEL GO BACKWARD
					  HAL_GPIO_WritePin(GPIOA, AIN1_Pin, GPIO_PIN_RESET);
					  HAL_GPIO_WritePin(GPIOA, AIN2_Pin, GPIO_PIN_SET);
					}
				  }

				  else if (pwmVal_servo > 189) { //TURN RIGHT
					pwmVal_Left = PID_Angle(error_angle, 0);
					pwmVal_Right = pwmVal_Left * (0.59); //RIGHT = SLAVE

					if (error_angle < 0) {
					  //RIGHT (WHEEL B) FORWARD
					  HAL_GPIO_WritePin(GPIOA, BIN1_Pin, GPIO_PIN_SET);
					  HAL_GPIO_WritePin(GPIOA, BIN2_Pin, GPIO_PIN_RESET);
					} else {
					  //RIGHT (WHEEL B) BACKWARD
					  HAL_GPIO_WritePin(GPIOA, BIN1_Pin, GPIO_PIN_RESET);
					  HAL_GPIO_WritePin(GPIOA, BIN2_Pin, GPIO_PIN_SET);
					}
				  }

				  else {		//mainly for task 1, used in task 2 for accurate turns
					pwmVal_Right = PID_Control(leftTarget - leftEncoderVal, 0) * 1.072;
					if (labs(leftTarget - leftEncoderVal)> labs(rightTarget - rightEncoderVal)) {
					  straightCorrection++;
					} else {
					  straightCorrection--;
					}
					if (labs(leftTarget - leftEncoderVal) < 100) {
					  straightCorrection = 0;
					}
					pwmVal_Left = PID_Control(rightTarget - rightEncoderVal, 1)
							+ straightCorrection;

					if ((leftTarget - leftEncoderVal) < 0) {
					  if (error_angle > 2) { // left +. right -. angle
						pwmVal_servo = ((19 * 5) / 5 + SERVOCENTER);
					  } else if (error_angle < -2) {
						pwmVal_servo = ((-19 * 5) / 5 + SERVOCENTER);
					  } else {
						pwmVal_servo = ((19 * error_angle) / 5 + SERVOCENTER);
					  }
					} else {
					  if (error_angle > 2) { // left +. right -.
						pwmVal_servo = ((-19 * 5) / 5 + SERVOCENTER);
					  } else if (error_angle < -2) {
						pwmVal_servo = ((19 * 5) / 5 + SERVOCENTER);
					  } else {
						pwmVal_servo = ((-19 * error_angle) / 5 + SERVOCENTER);
					  }
					}
					//line correction equation is pwmVal = (19*error)/5 + SERVOCENTER
				  }

	    }//task 1 functions end

	    if (e_brake) {
	      pwmVal_Left = pwmVal_Right = 0;
	      leftTarget = leftEncoderVal;
	      rightTarget = rightEncoderVal;
	    }

	    __HAL_TIM_SetCompare(&htim8,TIM_CHANNEL_1,pwmVal_Left);
	    __HAL_TIM_SetCompare(&htim8,TIM_CHANNEL_2,pwmVal_Right);
	    osDelay(10);

	    if (times_acceptable > 1000) {
	      times_acceptable = 1001;
	    }
	  }
  /* USER CODE END StartMotorTask */
}

void StartGyroTask(void *argument)
{
  /* USER CODE BEGIN StartGyroTask */

			gyroInit();
			uint8_t val[2] = { 0, 0 };

			int16_t angularSpeed = 0;

			uint32_t tick = 0;
			double offset = 0;
			double garbage = 0;
			int i = 0;
			total_angle = 0;

			osDelay(50);
			tick = HAL_GetTick();
			while (i < 1000) {					//sample 1000 for calibration
				osDelay(5);
				readByte(0x37, val);
				angularSpeed =  val[1] | (val[0] << 8);

				garbage = garbage + (double) ((double) angularSpeed)
						* ((HAL_GetTick() - tick) / 16400.0);
				offset = offset + angularSpeed;		//CALIBRATION OFFSET
				tick = HAL_GetTick();
				i++;
			}
			offset = offset / i;

			tick = HAL_GetTick();
			/* Infinite loop */
			for (;;) {
				osDelay(5);
				readByte(0x37, val);
				angularSpeed = val[1] | (val[0] << 8);
				total_angle = total_angle + (double) ((double) angularSpeed - offset)
						* ((HAL_GetTick() - tick) / 16400.0);	//calculate angle change by time diff
				i = i- angularSpeed;
				i++;
				tick = HAL_GetTick();
			}

  /* USER CODE END StartGyroTask */
}

void StartUltrasoundTask(void *argument)
{
  /* USER CODE BEGIN StartUltrasoundTask */
	HAL_TIM_IC_Start_IT(&htim4, TIM_CHANNEL_1);

	/* Infinite loop */
  for(;;)
  {
	  Ultrasonic_Read();
	      osDelay(10); // Adjust delay as needed
  }
  /* USER CODE END StartUltrasoundTask */
}

void StartIRTask(void *argument)
{
  /* USER CODE BEGIN StartIRTask */
  /* Infinite loop */
  for(;;)
  {
	  IR_Left_Read();
	  IR_Right_Read();
    osDelay(25);
  }
  /* USER CODE END StartIRTask */
}

void Error_Handler(void)
{
  __disable_irq();
  while (1)
  {
  }
}
